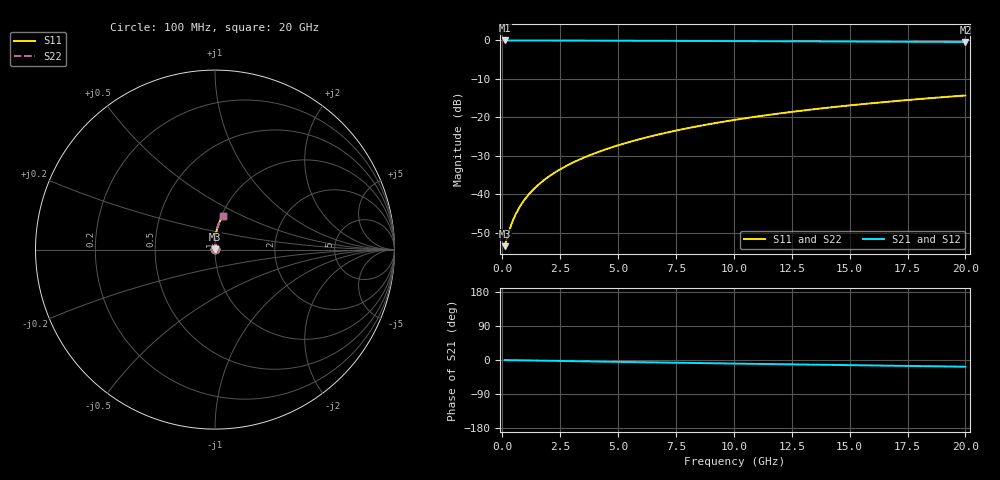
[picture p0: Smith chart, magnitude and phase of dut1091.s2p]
! Touchstone file exported from HFSS 2024.1.0
!  File:  C:/UserFiles/LocalFiles/RDL_TSV_Batchsim/temp_RDL_top_1091_1780045941.aedt
!  Generated:  05:14:19 PM May 29, 2026
!  Design:  RDL_top
!  Project:  temp_RDL_top_1091_1780045941
!  Setup:  Setup1
!  Solution:  Sweep
! Variables:
!  dtsv = 10.80580581um
!  hbump = 3um
!  htsv = 87.24um
!  ldown = 100um
!  lrdl = 212.42um
!  p = 40
!  p1 = 48.74um
!  rhole = 1um
!  t = 450um
!  tdown = 3.915915916um
!  trdl = 2.15um
!  wdown = 15.38538539um
!  wrdl = 23.09um
# GHz S MA R 50.000000
! Terminal data exported
! Port[1] = Box2_T1
! Port[2] = Box2_T2
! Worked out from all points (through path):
!   200 points, 100 MHz to 20 GHz, reference 50 ohm
!   highest |S21| = -0.02 dB at 100 MHz (marker M1); lowest = -0.4 dB at 20 GHz (marker M2)
!   group delay of S21, straight-line fit = 2.44 ps
!   lowest |S11| = -53.5 dB at 100 MHz (marker M3), VSWR 1.00, Z = 50.2 + j0.0923 ohm
!   |S11| at or under -10 dB: start of sweep to end of sweep
!   |S22| runs from -53.5 to -14.3 dB; largest |S21 - S12| = 4.5e-15
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0.1  0.002125 25.6  0.9981 -0.1  0.9981 -0.1  0.002125 25.6
! Gamma 0 0 0 0
! Port Impedance 50 0 50 0
0.3  0.003376 53.5  0.998 -0.3  0.998 -0.3  0.003376 53.5
0.4  0.004133 60.0  0.9979 -0.4  0.9979 -0.4  0.004133 60.0
0.5  0.00491 64.4  0.9978 -0.5  0.9978 -0.5  0.00491 64.4
0.6  0.005693 67.6  0.9977 -0.6  0.9977 -0.6  0.005693 67.6
0.7  0.006479 70.1  0.9976 -0.7  0.9976 -0.7  0.006479 70.1
0.9  0.008056 73.7  0.9974 -0.9  0.9974 -0.9  0.008056 73.7
1.2  0.01044 77.4  0.9972 -1.2  0.9972 -1.2  0.01044 77.4
1.4  0.01206 79.1  0.997 -1.4  0.997 -1.4  0.01206 79.1
1.7  0.0145 81.1  0.9967 -1.7  0.9967 -1.7  0.0145 81.1
2.2  0.01864 83.4  0.9961 -2.2  0.9961 -2.2  0.01864 83.4
2.8  0.02373 85.1  0.9953 -2.8  0.9953 -2.8  0.02373 85.1
3.5  0.02981 86.4  0.9942 -3.5  0.9942 -3.5  0.02981 86.4
4.2  0.03605 87.2  0.9929 -4.2  0.9929 -4.2  0.03606 87.3
5  0.04338 87.8  0.9913 -4.9  0.9913 -4.9  0.04338 87.8
5.9  0.05185 88.0  0.9893 -5.8  0.9893 -5.8  0.05186 88.0
6.8  0.06053 87.9  0.9872 -6.6  0.9872 -6.6  0.06054 88.0
8.4  0.07636 87.3  0.9833 -8.0  0.9833 -8.0  0.07636 87.3
10.1  0.09351 86.2  0.9791 -9.5  0.9791 -9.5  0.09351 86.2
13.4  0.1271 83.5  0.9708 -12.3  0.9708 -12.3  0.1271 83.5
16.7  0.1602 80.4  0.9624 -15.0  0.9624 -15.0  0.1602 80.4
20  0.1925 77.3  0.9538 -17.7  0.9538 -17.7  0.1925 77.3
